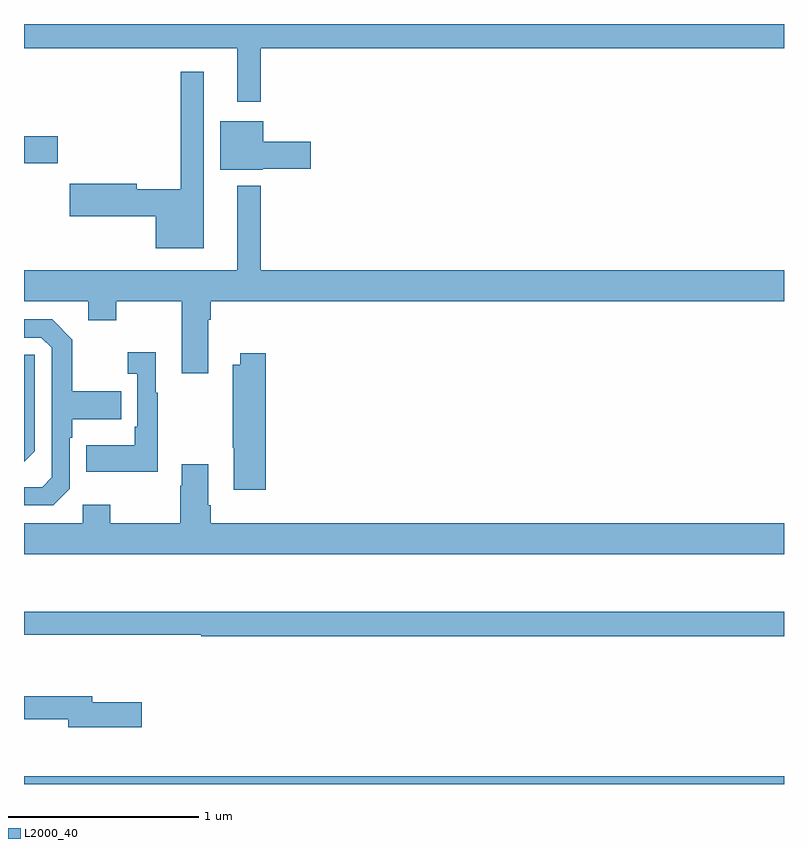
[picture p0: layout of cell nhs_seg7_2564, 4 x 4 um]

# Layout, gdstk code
import gdstk
lib = gdstk.Library(unit=1e-6, precision=1e-09)
def R(c, l, rs):  # rectangles x0, y0, x1, y1
    for r in rs: c.add(gdstk.rectangle(r[:2], r[2:], *l))
def P(c, l, *ps):  # polygons
    for p in ps: c.add(gdstk.Polygon(p, *l))
L2000_40 = (2000, 40)

nhs_seg7_2564 = lib.new_cell('nhs_seg7_2564')
R(nhs_seg7_2564, L2000_40, [(277,1074,281,1074.04), (277,1077.266,277.177,1077.408)])
P(nhs_seg7_2564, L2000_40, [(278.245,1077.872),(281,1077.872),(281,1078),(277,1078),(277,1077.872),(278.123,1077.872),(278.123,1077.591),(278.245,1077.591)],
  [(277.945,1077.748),(277.824,1077.748),(277.824,1077.13),(277.594,1077.13),(277.594,1077.158),(277.242,1077.158),(277.242,1076.987),(277.694,1076.987),(277.694,1076.819),(277.945,1076.819)],
  [(278.256,1077.239),(278.509,1077.239),(278.509,1077.381),(278.26,1077.381),(278.26,1077.487),(278.033,1077.487),(278.033,1077.233),(278.256,1077.233)],
  [(277.969,1076.444),(277.982,1076.444),(277.982,1076.54),(281,1076.54),(281,1076.704),(278.245,1076.704),(278.245,1077.148),(278.123,1077.148),(278.123,1076.704),(277,1076.704),(277,1076.54),(277.337,1076.54),(277.337,1076.441),(277.485,1076.441),(277.485,1076.54),(277.829,1076.54),(277.829,1076.163),(277.969,1076.163)],
  [(277.242,1075.554),(277.242,1075.823),(277.255,1075.823),(277.255,1075.919),(277.511,1075.919),(277.511,1076.067),(277.255,1076.067),(277.255,1076.339),(277.149,1076.445),(277,1076.445),(277,1076.349),(277.092,1076.349),(277.146,1076.295),(277.146,1075.614),(277.095,1075.563),(277,1075.563),(277,1075.467),(277.155,1075.467)],
  [(277.705,1076.059),(277.693,1076.059),(277.693,1076.272),(277.545,1076.272),(277.545,1076.159),(277.596,1076.159),(277.596,1075.879),(277.584,1075.879),(277.584,1075.783),(277.327,1075.783),(277.327,1075.643),(277.705,1075.643)],
  [(278.273,1076.266),(278.138,1076.266),(278.138,1076.206),(278.098,1076.206),(278.098,1075.771),(278.105,1075.771),(278.105,1075.548),(278.273,1075.548)],
  [(277.056,1075.752),(277.056,1076.259),(277,1076.259),(277,1075.696)],
  [(281,1075.372),(277.982,1075.372),(277.982,1075.468),(277.969,1075.468),(277.969,1075.684),(277.829,1075.684),(277.829,1075.571),(277.822,1075.571),(277.822,1075.372),(277.455,1075.372),(277.455,1075.471),(277.308,1075.471),(277.308,1075.372),(277,1075.372),(277,1075.208),(281,1075.208)],
  [(281,1074.907),(277,1074.907),(277,1074.786),(277.934,1074.786),(277.934,1074.778),(281,1074.778)],
  [(277.621,1074.429),(277.36,1074.429),(277.36,1074.463),(277,1074.463),(277,1074.342),(277.232,1074.342),(277.232,1074.299),(277.621,1074.299)])

lib.write_gds('nhs_seg7_2564.gds')
